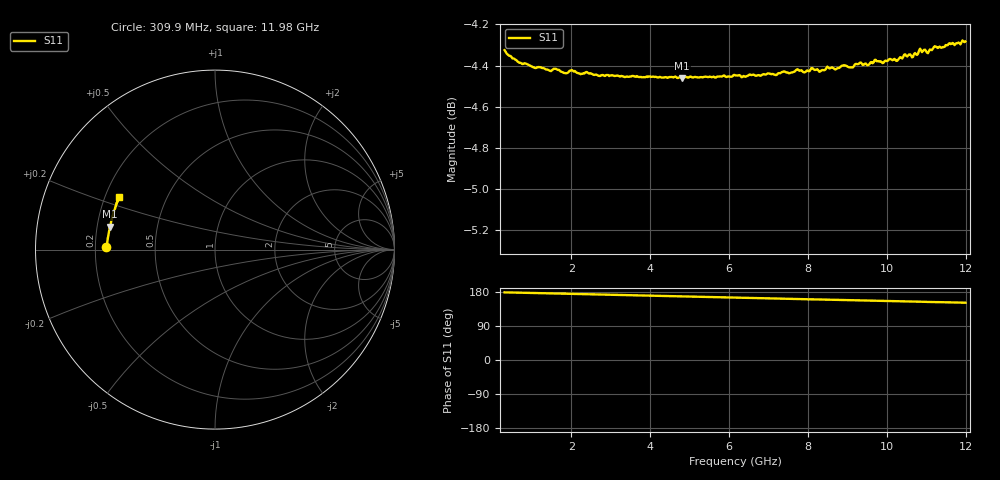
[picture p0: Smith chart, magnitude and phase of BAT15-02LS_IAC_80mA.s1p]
! Infineon Technologies  Discrete & RF Semiconductors
! BAT15-02ELS
! IAC = 80 mA
! One-Port S-Parameters
# Hz  S  MA  R  50
!f  S11
!Hz  Mag  Ang
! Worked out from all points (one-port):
!   468 points, 309.9 MHz to 11.98 GHz, reference 50 ohm
!   lowest |S11| = -4.5 dB at 4.808 GHz (marker M1), VSWR 3.98, Z = 12.7 + j5.06 ohm
!   |S11| at or under -10 dB: nowhere
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3.0985e8  0.6078 178.5
7.0965e8  0.6035 177.6
1.784112e9  0.6003 175.0
2.033988e9  0.6009 174.3
3.233388e9  0.5989 171.4
4.70765e9  0.5984 167.9
4.8076e9  0.5983 167.7
6.156925e9  0.5993 164.6
7.456275e9  0.6002 161.6
7.6062e9  0.6003 161.1
8.6057e9  0.6019 158.9
8.8056e9  0.602 158.3
8.930538e9  0.6027 158.2
9.080462e9  0.602 157.8
9.180412e9  0.603 157.4
9.30535e9  0.6035 157.3
9.580212e9  0.6037 156.5
9.8051e9  0.6039 156.1
9.980012e9  0.6041 155.6
1.017991e10  0.6048 155.2
1.035482e10  0.6052 154.8
1.052974e10  0.606 154.4
1.075462e10  0.6062 153.8
1.095452e10  0.608 153.5
1.112944e10  0.6078 153.0
1.127936e10  0.6085 152.8
1.147926e10  0.6095 152.2
1.197901e10  0.6108 151.2
